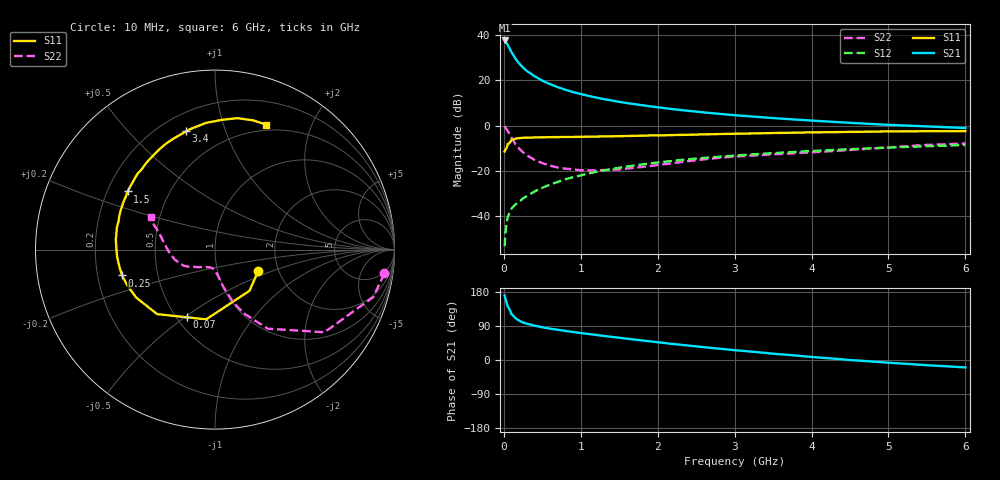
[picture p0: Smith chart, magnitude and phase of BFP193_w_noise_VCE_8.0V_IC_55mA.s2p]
! Infineon Technologies  Discrete & RF Semiconductors
! BFP193
! VCE =  8.0 V,  IC =  55 mA
! Common Emitter S-Parameters:  Jan 2017
# GHz  S  MA  R  50
!  f  S11  S21  S12  S22
! GHz  MAG  ANG  MAG  ANG  MAG  ANG  MAG  ANG
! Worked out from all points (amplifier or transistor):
!   77 points, 10 MHz to 6 GHz, reference 50 ohm
!   highest |S21| = 37.5 dB at 10 MHz (marker M1)
!   |S21| within 3 dB of that: start of sweep to 66.41 MHz
!   unconditionally stable (mu >= 1): 576.2 MHz to 2.389 GHz
!   at 130 MHz: K = 0.60, MSG = 33.1 dB, |S12| = -35.4 dB
!   at 2.2 GHz: K = 1.01, MAG = 10.7 dB, |S12| = -15.6 dB
!   at 6 GHz: K = 0.91, MSG = 3.7 dB, |S12| = -8.6 dB
!   lowest NFmin = 1.60 dB at 450 MHz
!   S11 on the Smith chart (normalised r, x): 10 MHz: 1.57, -0.40; 70 MHz: 0.56, -0.51; 250 MHz: 0.31, -0.12; 1.5 GHz: 0.28, +0.28; 3.4 GHz: 0.30, +0.74; 6 GHz: 0.44, +1.40
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0.01  0.2688 -26.2  74.88 170.5  0.0022 82.4  0.9528 -8.0
0.02  0.2993 -50.1  73.15 162.3  0.0042 81.9  0.9208 -16.7
0.05  0.3919 -97.2  59.79 141.2  0.0095 64.8  0.7637 -37.1
0.07  0.409 -112.8  51.6 134.9  0.0116 62.2  0.662 -43.1
0.1  0.4828 -131.9  41.09 120.9  0.0148 59.6  0.5298 -56.3
0.15  0.5137 -148.6  29.88 110.3  0.0183 60.1  0.3904 -65.6
0.2  0.5278 -157.8  23.24 103.7  0.0205 61.7  0.3092 -71.0
0.25  0.5378 -164.5  18.92 98.9  0.025 62.1  0.2562 -74.1
0.3  0.5404 -169.0  15.91 95.6  0.028 63.6  0.2196 -76.8
0.4  0.547 -175.8  12.11 90.3  0.0353 67.1  0.1744 -80.4
0.5  0.5498 178.7  9.731 86.2  0.0425 67.8  0.1486 -83.4
0.6  0.5551 174.4  8.158 82.8  0.0501 68.1  0.1307 -86.4
0.7  0.5568 170.8  7.005 79.8  0.0572 69.1  0.1189 -88.9
0.9  0.5596 164.0  5.461 73.9  0.0727 67.9  0.1081 -95.2
1.1  0.5687 157.7  4.5 68.7  0.0881 66.7  0.1034 -101.5
1.5  0.5843 146.3  3.326 58.7  0.1174 62.4  0.1082 -116.6
2.1  0.6107 130.4  2.405 44.6  0.1601 55.4  0.1414 -136.6
3.1  0.6632 109.0  1.642 24.2  0.2236 43.0  0.2117 -158.9
3.4  0.6783 103.7  1.502 18.7  0.2409 39.6  0.2266 -164.7
4.1  0.7101 92.6  1.257 6.5  0.2799 31.3  0.2633 -179.9
5.1  0.744 78.9  1.019 -8.4  0.3312 19.8  0.3386 161.4
6  0.7525 67.7  0.882 -19.6  0.3723 9.8  0.4019 152.7
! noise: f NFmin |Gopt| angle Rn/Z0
0.45  1.6  0.45  -170  0.09
0.9  1.65  0.47  -163  0.09
1.9  2.29  0.62  -131  0.25
2.4  2.64  0.64  -118  0.51
